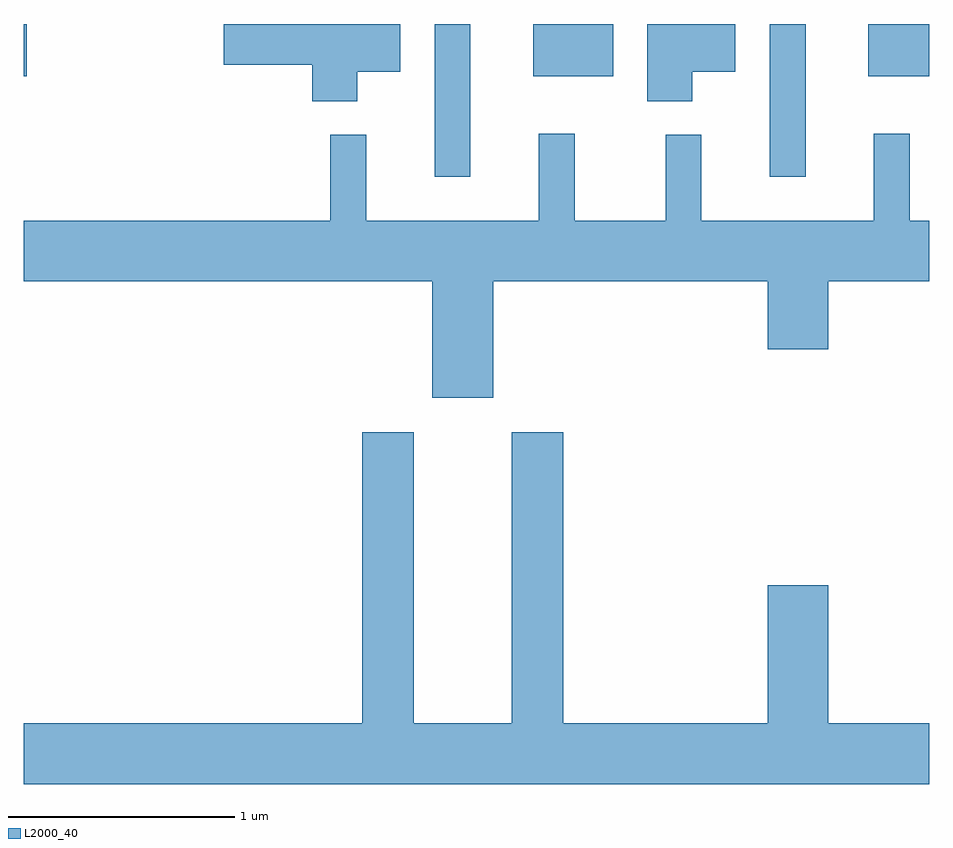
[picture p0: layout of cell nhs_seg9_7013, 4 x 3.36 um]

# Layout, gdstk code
import gdstk
lib = gdstk.Library(unit=1e-6, precision=1e-09)
def R(c, l, rs):  # rectangles x0, y0, x1, y1
    for r in rs: c.add(gdstk.rectangle(r[:2], r[2:], *l))
def P(c, l, *ps):  # polygons
    for p in ps: c.add(gdstk.Polygon(p, *l))
L2000_40 = (2000, 40)

nhs_seg9_7013 = lib.new_cell('nhs_seg9_7013')
R(nhs_seg9_7013, L2000_40, [(393.426,2067.758,393.584,2068.432), (394.906,2067.758,395.064,2068.432), (391.611,2068.201,391.624,2068.432), (393.861,2068.201,394.214,2068.432), (395.341,2068.201,395.611,2068.432)])
P(nhs_seg9_7013, L2000_40, [(394.564,2068.221),(394.754,2068.221),(394.754,2068.432),(394.366,2068.432),(394.366,2068.091),(394.564,2068.091)],
  [(393.084,2068.221),(393.274,2068.221),(393.274,2068.432),(392.496,2068.432),(392.496,2068.251),(392.886,2068.251),(392.886,2068.091),(393.084,2068.091)],
  [(393.684,2067.296),(394.896,2067.296),(394.896,2066.996),(395.164,2066.996),(395.164,2067.296),(395.611,2067.296),(395.611,2067.564),(395.524,2067.564),(395.524,2067.948),(395.366,2067.948),(395.366,2067.564),(394.604,2067.564),(394.604,2067.943),(394.446,2067.943),(394.446,2067.564),(394.044,2067.564),(394.044,2067.948),(393.886,2067.948),(393.886,2067.564),(393.124,2067.564),(393.124,2067.943),(392.966,2067.943),(392.966,2067.564),(391.611,2067.564),(391.611,2067.296),(393.416,2067.296),(393.416,2066.781),(393.684,2066.781)],
  [(395.611,2065.344),(395.164,2065.344),(395.164,2065.954),(394.896,2065.954),(394.896,2065.344),(393.994,2065.344),(393.994,2066.629),(393.766,2066.629),(393.766,2065.344),(393.334,2065.344),(393.334,2066.629),(393.106,2066.629),(393.106,2065.344),(391.611,2065.344),(391.611,2065.076),(395.611,2065.076)])

lib.write_gds('nhs_seg9_7013.gds')
